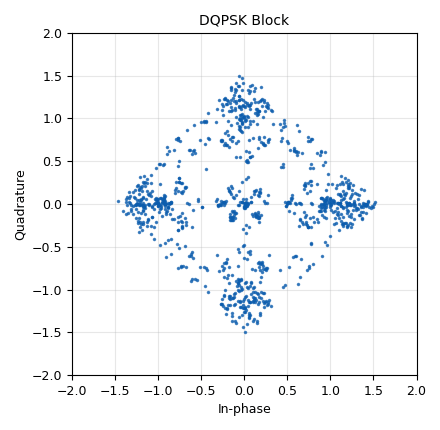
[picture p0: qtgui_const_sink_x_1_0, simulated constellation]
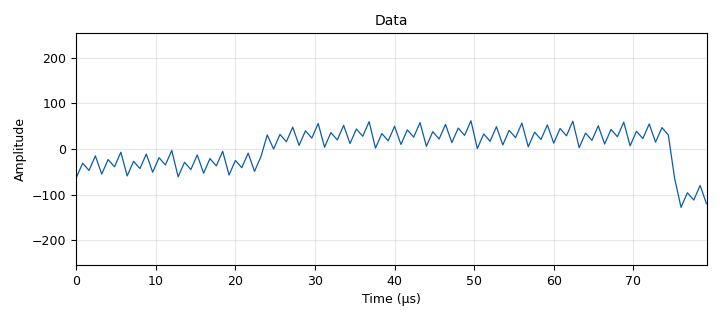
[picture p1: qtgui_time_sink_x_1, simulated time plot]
<?xml version='1.0' encoding='utf-8'?>
<?grc format='1' created='3.7.11'?>
<flow_graph>
<block>
<key>options</key>
<param><key>id</key><value>top_block</value></param>
<param><key>generate_options</key><value>qt_gui</value></param>
</block>
<block>
<key>variable_constellation</key>
<param><key>id</key><value>bpsk</value></param>
<param><key>type</key><value>bpsk</value></param>
<param><key>precision</key><value>8</value></param>
</block>
<block>
<key>variable</key>
<param><key>id</key><value>eb</value></param>
<param><key>value</key><value>0.22</value></param>
</block>
<block>
<key>variable</key>
<param><key>id</key><value>fc</value></param>
<param><key>value</key><value>1e6</value></param>
</block>
<block>
<key>variable</key>
<param><key>id</key><value>fm</value></param>
<param><key>value</key><value>1e3</value></param>
</block>
<block>
<key>variable</key>
<param><key>id</key><value>nfilts</value></param>
<param><key>value</key><value>32</value></param>
</block>
<block>
<key>variable_constellation_rect</key>
<param><key>id</key><value>qpsk</value></param>
<param><key>const_points</key><value>[0.707+0.707j, -0.707+0.707j, -0.707-0.707j, 0.707-0.707j]</value></param>
<param><key>imag_sect</key><value>2</value></param>
<param><key>real_sect</key><value>2</value></param>
<param><key>rot_sym</key><value>4</value></param>
<param><key>sym_map</key><value>[0, 1,2,3]</value></param>
<param><key>w_imag_sect</key><value>1</value></param>
<param><key>w_real_sect</key><value>1</value></param>
</block>
<block>
<key>variable_rrc_filter_taps</key>
<param><key>id</key><value>rx_rrc_taps</value></param>
<param><key>alpha</key><value>eb</value></param>
<param><key>gain</key><value>nfilts</value></param>
<param><key>ntaps</key><value>11*sps*nfilts</value></param>
<param><key>samp_rate</key><value>sps*nfilts</value></param>
<param><key>sym_rate</key><value>1.0</value></param>
</block>
<block>
<key>variable</key>
<param><key>id</key><value>samp_rate</value></param>
<param><key>value</key><value>1250000</value></param>
</block>
<block>
<key>variable</key>
<param><key>id</key><value>sps</value></param>
<param><key>value</key><value>4</value></param>
</block>
<block>
<key>analog_random_source_x</key>
<param><key>id</key><value>analog_random_source_x_0</value></param>
<param><key>_enabled</key><value>0</value></param>
<param><key>max</key><value>255</value></param>
<param><key>min</key><value>0</value></param>
<param><key>num_samps</key><value>1000</value></param>
<param><key>type</key><value>byte</value></param>
<param><key>repeat</key><value>True</value></param>
</block>
<block>
<key>blocks_char_to_float</key>
<param><key>id</key><value>blocks_char_to_float_0_0</value></param>
<param><key>scale</key><value>1</value></param>
</block>
<block>
<key>blocks_file_sink</key>
<param><key>id</key><value>blocks_file_sink_0</value></param>
<param><key>_enabled</key><value>0</value></param>
<param><key>file</key><value>/home/xongile/Lab-Project/TestSinks/QPSKSimpleNORP.dat</value></param>
<param><key>type</key><value>byte</value></param>
</block>
<block>
<key>blocks_file_sink</key>
<param><key>id</key><value>blocks_file_sink_0_0</value></param>
<param><key>_enabled</key><value>0</value></param>
<param><key>file</key><value>/home/xongile/Lab-Project/TestSinks/QPSKSimpleOrig.dat</value></param>
<param><key>type</key><value>byte</value></param>
</block>
<block>
<key>blocks_throttle</key>
<param><key>id</key><value>blocks_throttle_0</value></param>
<param><key>samples_per_second</key><value>samp_rate</value></param>
<param><key>type</key><value>byte</value></param>
</block>
<block>
<key>blocks_unpacked_to_packed_xx</key>
<param><key>id</key><value>blocks_unpacked_to_packed_xx_0</value></param>
<param><key>bits_per_chunk</key><value>1</value></param>
<param><key>endianness</key><value>gr.GR_LSB_FIRST</value></param>
<param><key>type</key><value>byte</value></param>
</block>
<block>
<key>blocks_vector_source_x</key>
<param><key>id</key><value>blocks_vector_source_x_0</value></param>
<param><key>_enabled</key><value>0</value></param>
<param><key>type</key><value>byte</value></param>
<param><key>repeat</key><value>True</value></param>
<param><key>vector</key><value>(127, 140, 100)</value></param>
</block>
<block>
<key>blocks_vector_source_x</key>
<param><key>id</key><value>blocks_vector_source_x_0_0</value></param>
<param><key>type</key><value>byte</value></param>
<param><key>repeat</key><value>True</value></param>
<param><key>vector</key><value>range(255)</value></param>
</block>
<block>
<key>digital_dxpsk_demod</key>
<param><key>id</key><value>digital_dxpsk_demod_0</value></param>
<param><key>excess_bw</key><value>0.35</value></param>
<param><key>freq_bw</key><value>6.28/100.0</value></param>
<param><key>mod_code</key><value>"gray"</value></param>
<param><key>log</key><value>False</value></param>
<param><key>phase_bw</key><value>6.28/100.0</value></param>
<param><key>samples_per_symbol</key><value>sps</value></param>
<param><key>sync_out</key><value>True</value></param>
<param><key>timing_bw</key><value>6.28/100.0</value></param>
<param><key>type</key><value>dqpsk</value></param>
<param><key>verbose</key><value>False</value></param>
</block>
<block>
<key>digital_dxpsk_mod</key>
<param><key>id</key><value>digital_dxpsk_mod_0</value></param>
<param><key>excess_bw</key><value>0.35</value></param>
<param><key>mod_code</key><value>"gray"</value></param>
<param><key>log</key><value>False</value></param>
<param><key>samples_per_symbol</key><value>sps</value></param>
<param><key>type</key><value>dqpsk</value></param>
<param><key>verbose</key><value>False</value></param>
</block>
<block>
<key>osmosdr_sink</key>
<param><key>id</key><value>osmosdr_sink_0</value></param>
<param><key>bb_gain0</key><value>20</value></param>
<param><key>freq0</key><value>fc</value></param>
<param><key>if_gain0</key><value>20</value></param>
<param><key>gain0</key><value>10</value></param>
<param><key>args</key><value>sdr</value></param>
<param><key>_enabled</key><value>0</value></param>
<param><key>type</key><value>fc32</value></param>
<param><key>sample_rate</key><value>samp_rate</value></param>
<param><key>sync</key><value></value></param>
</block>
<block>
<key>osmosdr_source</key>
<param><key>id</key><value>osmosdr_source_0</value></param>
<param><key>bb_gain0</key><value>20</value></param>
<param><key>freq0</key><value>fc</value></param>
<param><key>gain_mode0</key><value>False</value></param>
<param><key>if_gain0</key><value>20</value></param>
<param><key>gain0</key><value>10</value></param>
<param><key>args</key><value>sdr</value></param>
<param><key>_enabled</key><value>0</value></param>
<param><key>type</key><value>fc32</value></param>
<param><key>sample_rate</key><value>samp_rate</value></param>
<param><key>sync</key><value></value></param>
</block>
<block>
<key>qtgui_const_sink_x</key>
<param><key>id</key><value>qtgui_const_sink_x_0</value></param>
<param><key>size</key><value>1024</value></param>
<param><key>type</key><value>complex</value></param>
</block>
<block>
<key>qtgui_const_sink_x</key>
<param><key>id</key><value>qtgui_const_sink_x_1_0</value></param>
<param><key>name</key><value>"DQPSK Block"</value></param>
<param><key>size</key><value>1024</value></param>
<param><key>type</key><value>complex</value></param>
</block>
<block>
<key>qtgui_time_sink_x</key>
<param><key>id</key><value>qtgui_time_sink_x_1</value></param>
<param><key>color1</key><value>"blue"</value></param>
<param><key>label1</key><value></value></param>
<param><key>name</key><value>"Data"</value></param>
<param><key>size</key><value>100</value></param>
<param><key>srate</key><value>samp_rate</value></param>
<param><key>type</key><value>float</value></param>
<param><key>ymax</key><value>255</value></param>
<param><key>ymin</key><value>-255</value></param>
</block>
<connection><source_block_id>analog_random_source_x_0</source_block_id><sink_block_id>blocks_throttle_0</sink_block_id><source_key>0</source_key><sink_key>0</sink_key></connection>
<connection><source_block_id>blocks_char_to_float_0_0</source_block_id><sink_block_id>qtgui_time_sink_x_1</sink_block_id><source_key>0</source_key><sink_key>0</sink_key></connection>
<connection><source_block_id>blocks_throttle_0</source_block_id><sink_block_id>blocks_file_sink_0_0</sink_block_id><source_key>0</source_key><sink_key>0</sink_key></connection>
<connection><source_block_id>blocks_throttle_0</source_block_id><sink_block_id>digital_dxpsk_mod_0</sink_block_id><source_key>0</source_key><sink_key>0</sink_key></connection>
<connection><source_block_id>blocks_unpacked_to_packed_xx_0</source_block_id><sink_block_id>blocks_char_to_float_0_0</sink_block_id><source_key>0</source_key><sink_key>0</sink_key></connection>
<connection><source_block_id>blocks_unpacked_to_packed_xx_0</source_block_id><sink_block_id>blocks_file_sink_0</sink_block_id><source_key>0</source_key><sink_key>0</sink_key></connection>
<connection><source_block_id>blocks_vector_source_x_0</source_block_id><sink_block_id>blocks_throttle_0</sink_block_id><source_key>0</source_key><sink_key>0</sink_key></connection>
<connection><source_block_id>blocks_vector_source_x_0_0</source_block_id><sink_block_id>blocks_throttle_0</sink_block_id><source_key>0</source_key><sink_key>0</sink_key></connection>
<connection><source_block_id>digital_dxpsk_demod_0</source_block_id><sink_block_id>blocks_unpacked_to_packed_xx_0</sink_block_id><source_key>0</source_key><sink_key>0</sink_key></connection>
<connection><source_block_id>digital_dxpsk_mod_0</source_block_id><sink_block_id>digital_dxpsk_demod_0</sink_block_id><source_key>0</source_key><sink_key>0</sink_key></connection>
<connection><source_block_id>digital_dxpsk_mod_0</source_block_id><sink_block_id>qtgui_const_sink_x_1_0</sink_block_id><source_key>0</source_key><sink_key>0</sink_key></connection>
</flow_graph>
